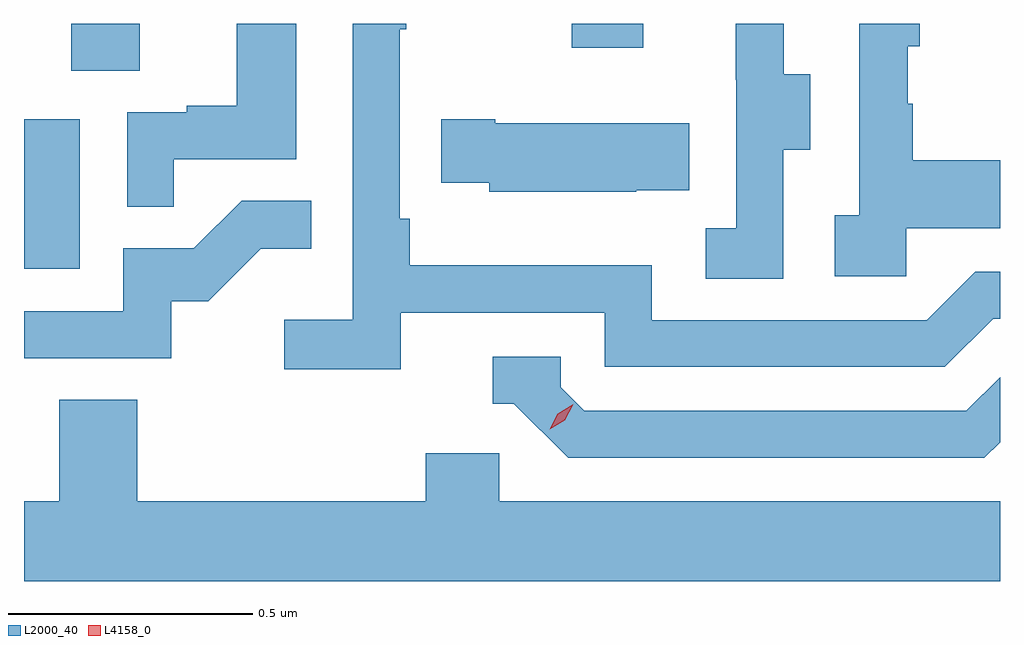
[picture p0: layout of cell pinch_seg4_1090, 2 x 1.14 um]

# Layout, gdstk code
import gdstk
lib = gdstk.Library(unit=1e-6, precision=1e-09)
def R(c, l, rs):  # rectangles x0, y0, x1, y1
    for r in rs: c.add(gdstk.rectangle(r[:2], r[2:], *l))
def P(c, l, *ps):  # polygons
    for p in ps: c.add(gdstk.Polygon(p, *l))
L2000_40 = (2000, 40)
L4158_0 = (4158, 0)

pinch_seg4_1090 = lib.new_cell('pinch_seg4_1090')
R(pinch_seg4_1090, L2000_40, [(840.472,752.172,840.586,752.479), (840.569,752.578,840.709,752.674), (841.594,752.625,841.741,752.674)])
P(pinch_seg4_1090, L2000_40, [(840.779,752.397),(841.03,752.397),(841.03,752.674),(840.908,752.674),(840.908,752.506),(840.805,752.506),(840.805,752.493),(840.684,752.493),(840.684,752.299),(840.779,752.299)],
  [(842.028,752.416),(842.083,752.416),(842.083,752.571),(842.029,752.571),(842.029,752.674),(841.931,752.674),(841.931,752.559),(841.932,752.559),(841.932,752.255),(841.869,752.255),(841.869,752.152),(842.028,752.152)],
  [(842.28,752.255),(842.472,752.255),(842.472,752.395),(842.293,752.395),(842.293,752.51),(842.283,752.51),(842.283,752.628),(842.308,752.628),(842.308,752.674),(842.184,752.674),(842.184,752.282),(842.133,752.282),(842.133,752.157),(842.28,752.157)],
  [(841.244,752.082),(841.662,752.082),(841.662,751.971),(842.359,751.971),(842.458,752.07),(842.472,752.07),(842.472,752.166),(842.421,752.166),(842.322,752.067),(841.758,752.067),(841.758,752.179),(841.262,752.179),(841.262,752.275),(841.242,752.275),(841.242,752.663),(841.255,752.663),(841.255,752.674),(841.146,752.674),(841.146,752.068),(841.005,752.068),(841.005,751.966),(841.244,751.966)],
  [(841.727,752.333),(841.835,752.333),(841.835,752.47),(841.438,752.47),(841.438,752.478),(841.327,752.478),(841.327,752.348),(841.425,752.348),(841.425,752.33),(841.727,752.33)],
  [(840.774,752.106),(840.85,752.106),(840.957,752.213),(841.061,752.213),(841.061,752.312),(840.918,752.312),(840.82,752.214),(840.675,752.214),(840.675,752.085),(840.472,752.085),(840.472,751.989),(840.774,751.989)],
  [(842.472,751.817),(842.472,751.95),(842.403,751.881),(841.62,751.881),(841.572,751.929),(841.572,751.992),(841.433,751.992),(841.433,751.896),(841.476,751.896),(841.587,751.785),(842.44,751.785)],
  [(842.472,751.696),(841.446,751.696),(841.446,751.794),(841.295,751.794),(841.295,751.696),(840.704,751.696),(840.704,751.904),(840.544,751.904),(840.544,751.696),(840.472,751.696),(840.472,751.532),(842.472,751.532)])
P(pinch_seg4_1090, L4158_0, [(841.549,751.843),(841.549,751.843),(841.566,751.875),(841.597,751.894),(841.597,751.894),(841.597,751.894),(841.58,751.862),(841.549,751.843)])

lib.write_gds('pinch_seg4_1090.gds')
